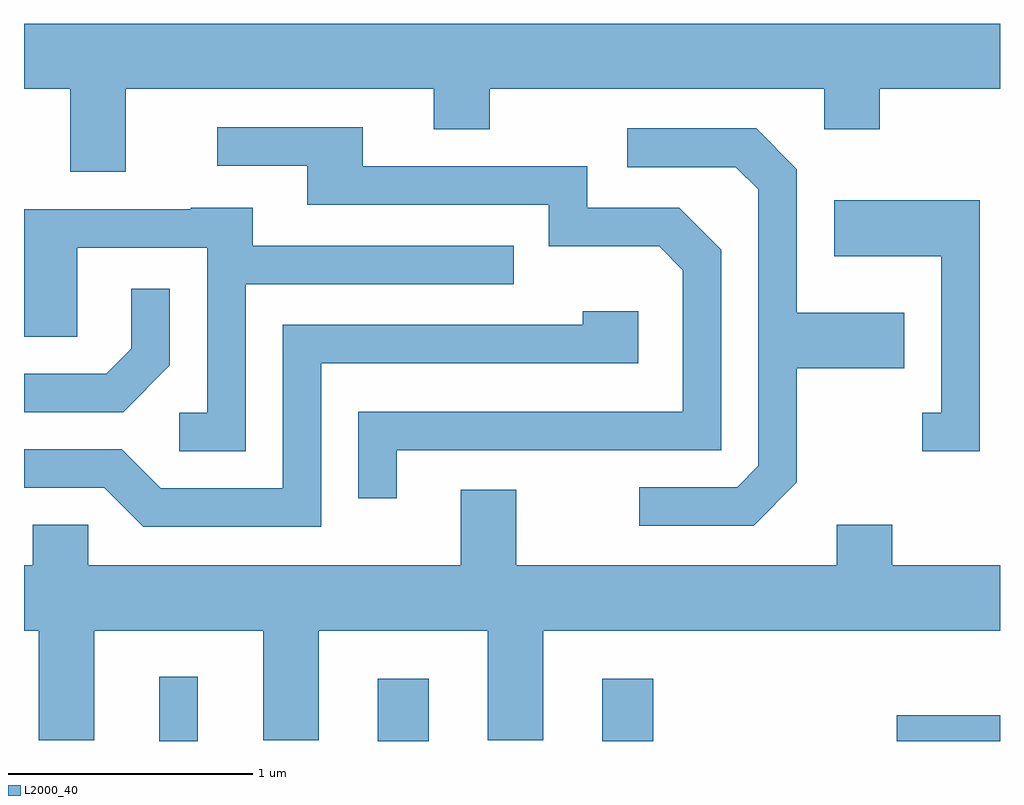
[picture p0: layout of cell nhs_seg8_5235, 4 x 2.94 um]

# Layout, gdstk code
import gdstk
lib = gdstk.Library(unit=1e-6, precision=1e-09)
def R(c, l, rs):  # rectangles x0, y0, x1, y1
    for r in rs: c.add(gdstk.rectangle(r[:2], r[2:], *l))
def P(c, l, *ps):  # polygons
    for p in ps: c.add(gdstk.Polygon(p, *l))
L2000_40 = (2000, 40)

nhs_seg8_5235 = lib.new_cell('nhs_seg8_5235')
R(nhs_seg8_5235, L2000_40, [(342.166,1900.342,342.324,1900.608), (343.061,1900.342,343.269,1900.599), (343.981,1900.342,344.189,1900.599), (345.188,1900.342,345.611,1900.449)])
P(nhs_seg8_5235, L2000_40, [(342.029,1903.016),(343.291,1903.016),(343.291,1902.851),(343.519,1902.851),(343.519,1903.016),(344.891,1903.016),(344.891,1902.851),(345.119,1902.851),(345.119,1903.016),(345.611,1903.016),(345.611,1903.284),(341.611,1903.284),(341.611,1903.016),(341.801,1903.016),(341.801,1902.676),(342.029,1902.676)],
  [(343.139,1901.536),(344.469,1901.536),(344.469,1902.357),(344.297,1902.529),(343.919,1902.529),(343.919,1902.699),(342.999,1902.699),(342.999,1902.859),(342.403,1902.859),(342.403,1902.701),(342.771,1902.701),(342.771,1902.541),(343.761,1902.541),(343.761,1902.371),(344.214,1902.371),(344.311,1902.274),(344.311,1901.694),(342.981,1901.694),(342.981,1901.338),(343.139,1901.338)],
  [(344.779,1901.404),(344.779,1901.871),(345.219,1901.871),(345.219,1902.099),(344.779,1902.099),(344.779,1902.687),(344.612,1902.854),(344.083,1902.854),(344.083,1902.696),(344.529,1902.696),(344.621,1902.604),(344.621,1901.472),(344.534,1901.384),(344.133,1901.384),(344.133,1901.226),(344.602,1901.226)],
  [(345.529,1902.559),(344.931,1902.559),(344.931,1902.331),(345.371,1902.331),(345.371,1901.689),(345.293,1901.689),(345.293,1901.531),(345.529,1901.531)],
  [(342.519,1902.216),(343.618,1902.216),(343.618,1902.374),(342.549,1902.374),(342.549,1902.529),(342.295,1902.529),(342.295,1902.524),(341.611,1902.524),(341.611,1902.001),(341.829,1902.001),(341.829,1902.366),(342.361,1902.366),(342.361,1901.689),(342.248,1901.689),(342.248,1901.531),(342.519,1901.531)],
  [(342.209,1901.884),(342.209,1902.198),(342.051,1902.198),(342.051,1901.952),(341.949,1901.849),(341.611,1901.849),(341.611,1901.691),(342.017,1901.691)],
  [(342.829,1901.891),(344.129,1901.891),(344.129,1902.104),(343.901,1902.104),(343.901,1902.049),(342.671,1902.049),(342.671,1901.379),(342.172,1901.379),(342.012,1901.539),(341.611,1901.539),(341.611,1901.381),(341.939,1901.381),(342.099,1901.221),(342.829,1901.221)],
  [(343.629,1901.374),(343.401,1901.374),(343.401,1901.064),(341.874,1901.064),(341.874,1901.229),(341.646,1901.229),(341.646,1901.064),(341.611,1901.064),(341.611,1900.796),(341.671,1900.796),(341.671,1900.346),(341.899,1900.346),(341.899,1900.796),(342.591,1900.796),(342.591,1900.346),(342.819,1900.346),(342.819,1900.796),(343.511,1900.796),(343.511,1900.346),(343.739,1900.346),(343.739,1900.796),(345.611,1900.796),(345.611,1901.064),(345.169,1901.064),(345.169,1901.229),(344.941,1901.229),(344.941,1901.064),(343.629,1901.064)])

lib.write_gds('nhs_seg8_5235.gds')
